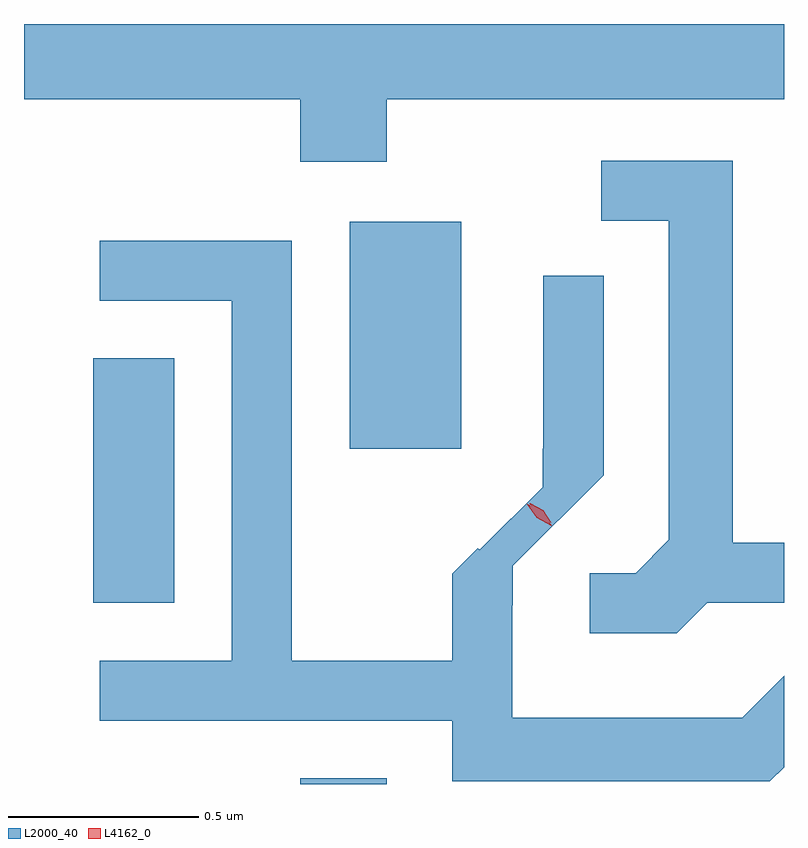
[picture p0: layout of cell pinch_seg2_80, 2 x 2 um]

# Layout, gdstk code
import gdstk
lib = gdstk.Library(unit=1e-6, precision=1e-09)
def R(c, l, rs):  # rectangles x0, y0, x1, y1
    for r in rs: c.add(gdstk.rectangle(r[:2], r[2:], *l))
def P(c, l, *ps):  # polygons
    for p in ps: c.add(gdstk.Polygon(p, *l))
L2000_40 = (2000, 40)
L4162_0 = (4162, 0)

pinch_seg2_80 = lib.new_cell('pinch_seg2_80')
R(pinch_seg2_80, L2000_40, [(1126.411,1044.294,1126.639,1044.309), (1125.866,1044.771,1126.079,1045.414), (1126.541,1045.176,1126.834,1045.774)])
P(pinch_seg2_80, L2000_40, [(1126.639,1046.096),(1127.684,1046.096),(1127.684,1046.294),(1125.684,1046.294),(1125.684,1046.096),(1126.411,1046.096),(1126.411,1045.931),(1126.639,1045.931)],
  [(1127.482,1044.771),(1127.684,1044.771),(1127.684,1044.929),(1127.549,1044.929),(1127.549,1045.934),(1127.203,1045.934),(1127.203,1045.776),(1127.381,1045.776),(1127.381,1044.937),(1127.294,1044.849),(1127.173,1044.849),(1127.173,1044.691),(1127.402,1044.691)],
  [(1127.684,1044.338),(1127.684,1044.579),(1127.574,1044.469),(1126.969,1044.469),(1126.969,1044.765),(1126.97,1044.765),(1126.97,1044.868),(1127.209,1045.107),(1127.209,1045.632),(1127.051,1045.632),(1127.051,1045.176),(1127.049,1045.176),(1127.049,1045.075),(1126.883,1044.91),(1126.878,1044.914),(1126.811,1044.847),(1126.811,1044.619),(1126.389,1044.619),(1126.389,1045.724),(1125.883,1045.724),(1125.883,1045.566),(1126.231,1045.566),(1126.231,1044.619),(1125.883,1044.619),(1125.883,1044.461),(1126.811,1044.461),(1126.811,1044.301),(1127.647,1044.301)])
P(pinch_seg2_80, L4162_0, [(1127.072,1044.973),(1127.033,1044.995),(1127.007,1045.032),(1127.007,1045.032),(1127.007,1045.032),(1127.046,1045.01),(1127.073,1044.973),(1127.073,1044.973)],
  [(1127.072,1044.981),(1127.037,1045),(1127.015,1045.032),(1127.015,1045.033),(1127.016,1045.033),(1127.05,1045.014),(1127.072,1044.982),(1127.072,1044.981)])

lib.write_gds('pinch_seg2_80.gds')
